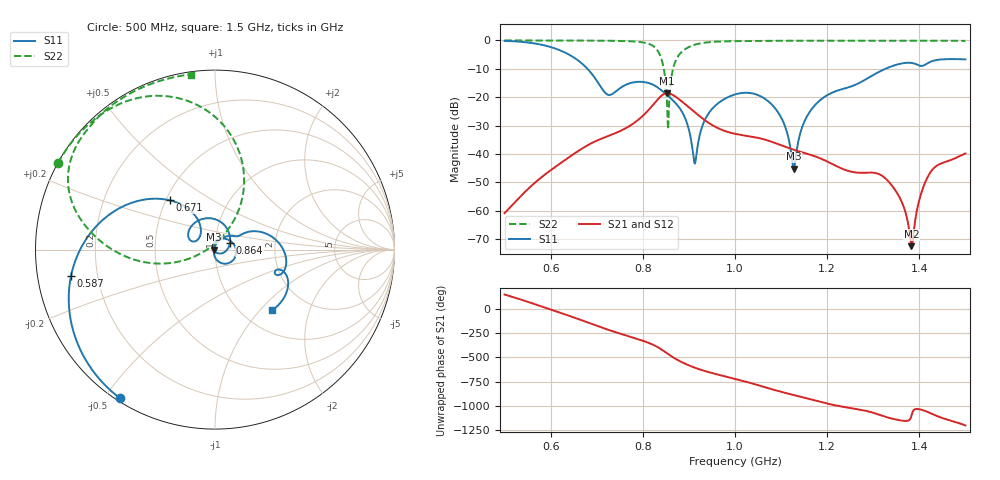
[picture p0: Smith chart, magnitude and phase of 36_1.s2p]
! TOUCHSTONE file generated by CST MICROWAVE STUDIO
! Date and time: Fri Oct  2 17:15:08 2020
! Project name: Scenario_1_Free_Space_out_of_line.cst
! Parameters = {Lambda=346.42; Step_1=17.321; dy1=-259.295; dx1=173; L_HA=400; MT=2.54; Rad_Dielectric=30; Rad_Lower=7.3; Rad_Upper=30; a_HA=580; a_WG=246; b_HA=500; b_WG=121; c_HA=0; c_WG=187; d_feed=85; h_feed=15; h_lower=18; h_upper=40}
! Header version: 2018
! Port assignment regex: !\s*Touchstone port\s*([0-9]+)\s*=\s*(CST MWS port|CST DS port)\s*([0-9]+|Zmin|Zmax)\s*\(\"(.*)\"\)(\s*mode\s*([0-9]+))?.*
! Touchstone port assignment:
! Touchstone port 1 = CST MWS port 1 ("")
! Touchstone port 2 = CST MWS port 2 ("")
# GHz S DB R 50
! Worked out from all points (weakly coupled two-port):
!   1003 points, 500 MHz to 1.5 GHz, reference 50 ohm
!   highest |S21| = -18.56 dB at 853 MHz (marker M1); lowest = -72.4 dB at 1.383 GHz (marker M2)
!   lowest |S11| = -45.1 dB at 1.127 GHz (marker M3), VSWR 1.01, Z = 49.4 + j0.0125 ohm
!   |S11| at or under -10 dB: 679.9 MHz to 1.326 GHz (646.3 MHz wide, 64.4 % of centre)
!   |S22| runs from -31.3 to 0.0 dB; largest |S21 - S12| = 2.4e-05
!   S11 on the Smith chart (normalised r, x): 500 MHz: 0.01, -0.55; 587 MHz: 0.10, -0.09; 671 MHz: 0.52, +0.33; 864 MHz: 1.18, +0.08; 1.5 GHz: 1.36, -1.17
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0.5  -0.15 -122.6  -60.79 144.5  -60.79 144.5  -0.01 151.1
0.587  -1.77 -169.5  -47.27 11.2  -47.27 11.2  -0.01 145.1
0.667  -8.01 135.2  -38.17 -119.3  -38.17 -119.3  -0.04 138.3
0.671  -8.58 132.5  -37.77 -126.2  -37.77 -126.2  -0.05 137.9
0.725  -19.15 141.9  -33.64 142.0  -33.64 142.0  -0.11 131.5
0.791  -14.57 128.2  -27.82 44.2  -27.82 44.2  -0.50 116.1
0.834  -16.76 68.2  -20.48 -40.9  -20.48 -40.9  -4.09 80.6
0.853  -19.28 40.0  -18.56 -101.3  -18.56 -101.3  -23.78 65.0
0.864  -20.91 23.4  -19.08 -136.5  -19.08 -136.5  -11.08 -164.0
0.892  -27.45 -29.5  -22.45 153.2  -22.45 153.2  -3.05 171.6
0.913  -43.37 -155.4  -25.30 112.3  -25.30 112.3  -1.49 161.4
0.941  -26.10 82.5  -28.82 69.6  -28.82 69.6  -0.66 151.7
1  -19.01 10.3  -32.87 -1.4  -32.87 -1.4  -0.25 140.1
1.084  -23.30 -74.4  -35.92 -114.1  -35.92 -114.1  -0.14 131.2
1.109  -30.42 -98.5  -37.43 -146.1  -37.43 -146.1  -0.11 129.0
1.127  -45.13 178.7  -38.45 -167.7  -38.45 -167.7  -0.10 127.4
1.167  -24.05 63.2  -40.44 144.3  -40.44 144.3  -0.09 124.1
1.334  -9.46 10.5  -49.82 -42.2  -49.82 -42.2  -0.09 111.4
1.364  -8.04 -5.9  -57.65 -72.1  -57.65 -72.1  -0.09 109.1
1.383  -7.91 -17.2  -72.43 -19.2  -72.42 -19.1  -0.10 107.6
1.423  -7.60 -19.1  -46.69 7.7  -46.69 7.7  -0.11 104.4
1.5  -6.67 -46.6  -39.79 -120.9  -39.80 -120.8  -0.14 97.8
